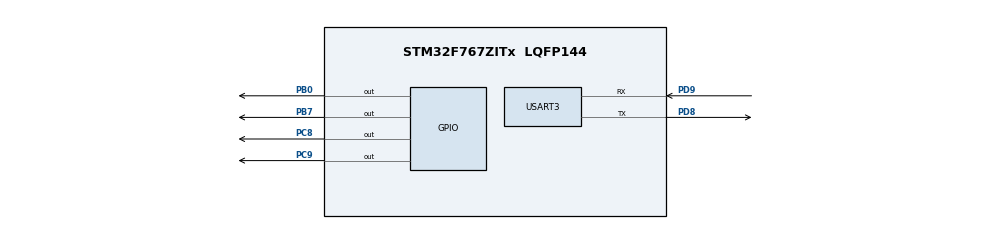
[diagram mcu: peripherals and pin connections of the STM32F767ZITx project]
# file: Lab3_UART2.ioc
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Mcu.Family=STM32F7
Mcu.Name=STM32F767ZITx
Mcu.Package=LQFP144
NVIC.PriorityGroup=NVIC_PRIORITYGROUP_4
PB0.GPIO_PuPd=GPIO_PULLUP
PB0.GPIO_Speed=GPIO_SPEED_FREQ_LOW
PB0.Signal=GPIO_Output
PB7.GPIO_FM7=__NULL
PB7.GPIO_PuPd=GPIO_PULLUP
PB7.Signal=GPIO_Output
PC8.GPIO_PuPd=GPIO_PULLUP
PC8.Signal=GPIO_Output
PC9.GPIO_PuPd=GPIO_PULLUP
PC9.Signal=GPIO_Output
PD8.Mode=Asynchronous
PD8.Signal=USART3_TX
PD9.Mode=Asynchronous
PD9.Signal=USART3_RX
ProjectManager.HeapSize=0x200
ProjectManager.StackSize=0x400
ProjectManager.TargetToolchain=MDK-ARM V5
RCC.HSE_VALUE=25000000
RCC.HSI_VALUE=16000000
RCC.LSE_VALUE=32768
RCC.USBFreq_Value=96000000
RCC.VCOOutputFreq_Value=192000000
USART3.VirtualMode-Asynchronous=VM_ASYNC
board=custom

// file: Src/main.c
/* USER CODE BEGIN Header */
/**
  ******************************************************************************
  * @file           : main.c
  * @brief          : Main program body
  ******************************************************************************
  * @attention
  *
  * <h2><center>&copy; Copyright (c) 2019 STMicroelectronics.
  * All rights reserved.</center></h2>
  *
  * This software component is licensed by ST under BSD 3-Clause license,
  * the "License"; You may not use this file except in compliance with the
  * License. You may obtain a copy of the License at:
  *                        opensource.org/licenses/BSD-3-Clause
  *
  ******************************************************************************
  */
/* USER CODE END Header */

#include "main.h"
#include "usart.h"
#include "gpio.h"

/* USER CODE BEGIN Includes */
#include "string.h"
/* USER CODE END Includes */

void SystemClock_Config(void);

int main(void)
{

  /* MCU Configuration--------------------------------------------------------*/

  /* Reset of all peripherals, Initializes the Flash interface and the Systick. */
  HAL_Init();

  /* Configure the system clock */
  SystemClock_Config();

  /* Initialize all configured peripherals */
  MX_GPIO_Init();
  MX_USART3_UART_Init();
  /* USER CODE BEGIN 2 */
	//4
	char strDisplay[] = "Display Blinking LED PRESS (r, g)\n\rDisplay Group Members PRESS m\n\r Quit PRESS q\n\r";
		while(__HAL_UART_GET_FLAG(&huart3,UART_FLAG_TC)==RESET){}
		HAL_UART_Transmit(&huart3, (uint8_t*) strDisplay, strlen(strDisplay),1000);
  /* USER CODE END 2 */

  /* Infinite loop */
  while (1)
  {

    /* USER CODE BEGIN 3 */
		//1
		/*
		char str[] = "Hello, World!!\n\r";
		while(__HAL_UART_GET_FLAG(&huart3,UART_FLAG_TC)==RESET){}
		HAL_UART_Transmit(&huart3, (uint8_t*) str, strlen(str),1000);
		HAL_Delay(500);
		*/
		//2
		/*
		char ch1 = 'A';
		while(__HAL_UART_GET_FLAG(&huart3,UART_FLAG_TC)==RESET){}
		HAL_UART_Transmit(&huart3, (uint8_t*) &ch1, 1,1000);
		HAL_Delay(500);
		*/
		//3
		/*
		char str[] = "Input => ";
		while(__HAL_UART_GET_FLAG(&huart3,UART_FLAG_TC)==RESET){}
		HAL_UART_Transmit(&huart3, (uint8_t*) str, strlen(str),1000);

		char ch1;
		while(__HAL_UART_GET_FLAG(&huart3,UART_FLAG_RXNE)== RESET){}
		HAL_UART_Receive(&huart3, (uint8_t*) &ch1, 1, 1000);
		while(__HAL_UART_GET_FLAG(&huart3,UART_FLAG_TC)==RESET){}
		HAL_UART_Transmit(&huart3, (uint8_t*) &ch1, 1,1000);

		str[0] = '\n';
		str[1] = '\r';
		while(__HAL_UART_GET_FLAG(&huart3,UART_FLAG_TC)==RESET){}
		HAL_UART_Transmit(&huart3, (uint8_t*) &str, 2,1000);
		if(ch1 == 'q'){
			char str[] = "QUIT";
			while(__HAL_UART_GET_FLAG(&huart3,UART_FLAG_TC)==RESET){}
			HAL_UART_Transmit(&huart3, (uint8_t*) str, strlen(str),1000);
			break;
			*/
		//4
		char str[] = "		Input => ";
		while(__HAL_UART_GET_FLAG(&huart3,UART_FLAG_TC)==RESET){}
		HAL_UART_Transmit(&huart3, (uint8_t*) str, strlen(str),1000);

		char ch1;
		while(__HAL_UART_GET_FLAG(&huart3,UART_FLAG_RXNE)== RESET){}
		HAL_UART_Receive(&huart3, (uint8_t*) &ch1, 1, 1000);
		while(__HAL_UART_GET_FLAG(&huart3,UART_FLAG_TC)==RESET){}
		HAL_UART_Transmit(&huart3, (uint8_t*) &ch1, 1,1000);
		str[0] = '\n';
		str[1] = '\r';
		while(__HAL_UART_GET_FLAG(&huart3,UART_FLAG_TC)==RESET){}
		HAL_UART_Transmit(&huart3, (uint8_t*) &str, 2,1000);

		if(ch1 == 'q'){
			char str[] = "QUIT";
			while(__HAL_UART_GET_FLAG(&huart3,UART_FLAG_TC)==RESET){}
			HAL_UART_Transmit(&huart3, (uint8_t*) str, strlen(str),1000);
			break;
		}
		else if(ch1 == 'g'){
			for(int i=0; i<3;i++){
				HAL_GPIO_WritePin(GPIOC, GPIO_PIN_8, GPIO_PIN_SET);
				HAL_Delay(300);
				HAL_GPIO_WritePin(GPIOC, GPIO_PIN_8, GPIO_PIN_RESET);
				HAL_Delay(300);
			}
		}
		else if(ch1 == 'r'){
			for(int i=0; i<3;i++){
				HAL_GPIO_WritePin(GPIOC, GPIO_PIN_9, GPIO_PIN_SET);
				HAL_Delay(300);
				HAL_GPIO_WritePin(GPIOC, GPIO_PIN_9, GPIO_PIN_RESET);
				HAL_Delay(300);
			}
		}
		else if(ch1 == 'm'){
			char strM[] = "60010421\n\r";
			while(__HAL_UART_GET_FLAG(&huart3,UART_FLAG_TC)==RESET){}
			HAL_UART_Transmit(&huart3, (uint8_t*) strM, strlen(strM),1000);
			char strM2[] = "Thanut Krasea\n\r";
			while(__HAL_UART_GET_FLAG(&huart3,UART_FLAG_TC)==RESET){}
			HAL_UART_Transmit(&huart3, (uint8_t*) strM2, strlen(strM2),1000);
			char strM3[] = "60010477\n\r";
			while(__HAL_UART_GET_FLAG(&huart3,UART_FLAG_TC)==RESET){}
			HAL_UART_Transmit(&huart3, (uint8_t*) strM3, strlen(strM3),1000);
			char strM4[] = "Terapat Chattrakul\n\r";
			while(__HAL_UART_GET_FLAG(&huart3,UART_FLAG_TC)==RESET){}
			HAL_UART_Transmit(&huart3, (uint8_t*) strM4, strlen(strM4),1000);
		}
		else{
			char strUn[] = "Unknown Command\n\r";
			while(__HAL_UART_GET_FLAG(&huart3,UART_FLAG_TC)==RESET){}
			HAL_UART_Transmit(&huart3, (uint8_t*) strUn, strlen(strUn),1000);
		}
  }
  /* USER CODE END 3 */
}

void SystemClock_Config(void)
{
  RCC_OscInitTypeDef RCC_OscInitStruct = {0};
  RCC_ClkInitTypeDef RCC_ClkInitStruct = {0};
  RCC_PeriphCLKInitTypeDef PeriphClkInitStruct = {0};

  /** Configure the main internal regulator output voltage
  */
  __HAL_RCC_PWR_CLK_ENABLE();
  __HAL_PWR_VOLTAGESCALING_CONFIG(PWR_REGULATOR_VOLTAGE_SCALE3);
  /** Initializes the CPU, AHB and APB busses clocks
  */
  RCC_OscInitStruct.OscillatorType = RCC_OSCILLATORTYPE_HSI;
  RCC_OscInitStruct.HSIState = RCC_HSI_ON;
  RCC_OscInitStruct.HSICalibrationValue = RCC_HSICALIBRATION_DEFAULT;
  RCC_OscInitStruct.PLL.PLLState = RCC_PLL_NONE;
  if (HAL_RCC_OscConfig(&RCC_OscInitStruct) != HAL_OK)
  {
    Error_Handler();
  }
  /** Initializes the CPU, AHB and APB busses clocks
  */
  RCC_ClkInitStruct.ClockType = RCC_CLOCKTYPE_HCLK|RCC_CLOCKTYPE_SYSCLK
                              |RCC_CLOCKTYPE_PCLK1|RCC_CLOCKTYPE_PCLK2;
  RCC_ClkInitStruct.SYSCLKSource = RCC_SYSCLKSOURCE_HSI;
  RCC_ClkInitStruct.AHBCLKDivider = RCC_SYSCLK_DIV1;
  RCC_ClkInitStruct.APB1CLKDivider = RCC_HCLK_DIV1;
  RCC_ClkInitStruct.APB2CLKDivider = RCC_HCLK_DIV1;

  if (HAL_RCC_ClockConfig(&RCC_ClkInitStruct, FLASH_LATENCY_0) != HAL_OK)
  {
    Error_Handler();
  }
  PeriphClkInitStruct.PeriphClockSelection = RCC_PERIPHCLK_USART3;
  PeriphClkInitStruct.Usart3ClockSelection = RCC_USART3CLKSOURCE_PCLK1;
  if (HAL_RCCEx_PeriphCLKConfig(&PeriphClkInitStruct) != HAL_OK)
  {
    Error_Handler();
  }
}

void Error_Handler(void)
{
}

/************************ (C) COPYRIGHT STMicroelectronics *****END OF FILE****/
